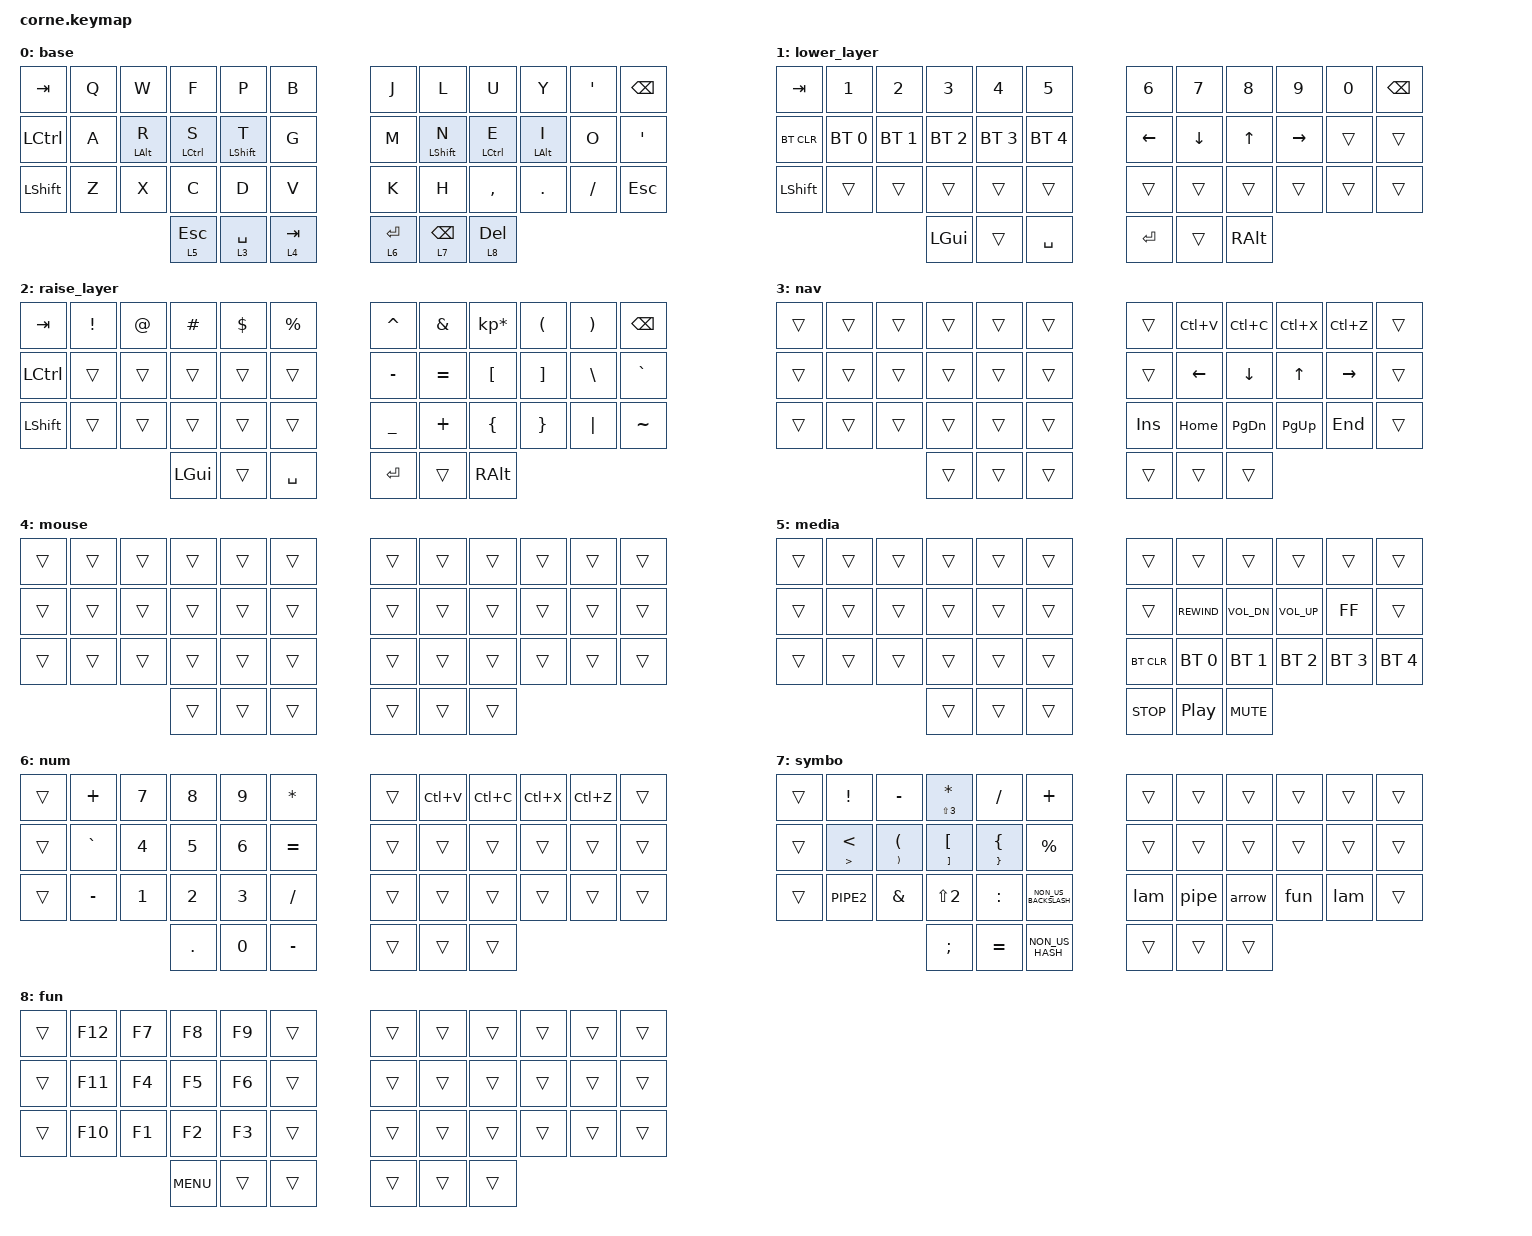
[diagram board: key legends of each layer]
/*
 * Copyright (c) 2020 The ZMK Contributors
 *
 * SPDX-License-Identifier: MIT
 */

#include <behaviors.dtsi>
#include <dt-bindings/zmk/bt.h>
#include <dt-bindings/zmk/keys.h>

/ {
    behaviors {
        hmr: hmr {
            compatible = "zmk,behavior-hold-tap";
            label = "HMR";
            bindings = <&kp>, <&kp>;

            #binding-cells = <2>;
            tapping-term-ms = <200>;
            quick-tap-ms = <175>;
            hold-trigger-key-positions = <0 1 2 3 4 5 12 13 14 15 16 17 24 25 26 27 28 29 36 37 38 39 40 41>;
            hold-trigger-on-release;
            flavor = "balanced";
        };

        hml: hml {
            compatible = "zmk,behavior-hold-tap";
            label = "HML";
            bindings = <&kp>, <&kp>;

            #binding-cells = <2>;
            tapping-term-ms = <200>;
            quick-tap-ms = <175>;
            flavor = "balanced";
            hold-trigger-key-positions = <6 7 8 9 10 11 18 19 20 21 22 23 30 31 32 33 34 35 39 40 41 36 37 38>;
            hold-trigger-on-release;
        };
    };

    macros {
        pipe: new_macro {
            compatible = "zmk,behavior-macro";
            #binding-cells = <0>;
            bindings = <&kp PIPE2 &kp GT>;
            label = "NEW_MACRO";
        };

        arrow: arrow {
            compatible = "zmk,behavior-macro";
            #binding-cells = <0>;
            bindings = <&kp MINUS &kp GT>;
            label = "ARROW";
        };

        fun: fun {
            compatible = "zmk,behavior-macro";
            #binding-cells = <0>;
            bindings = <&kp LPAR &kp F &kp U &kp N &kp SPACE &kp X &kp SPACE &kp MINUS &kp GT &kp SPACE &kp RPAR>;
            label = "FUN";
        };

        lam: lam {
            compatible = "zmk,behavior-macro";
            #binding-cells = <0>;
            bindings = <&none &kp EQUAL &kp GT>;
            label = "LAM";
        };
    };

    keymap {
        compatible = "zmk,keymap";

        base {
            // -----------------------------------------------------------------------------------------
            // |  TAB |  Q  |  W  |  E  |  R  |  T  |   |  Y  |  U   |  I  |  O  |  P  | BKSP |
            // | CTRL |  A  |  S  |  D  |  F  |  G  |   |  H  |  J   |  K  |  L  |  ;  |  '   |
            // | SHFT |  Z  |  X  |  C  |  V  |  B  |   |  N  |  M   |  ,  |  .  |  /  | ESC  |
            //                    | GUI | LWR | SPC |   | ENT | RSE  | ALT |

            bindings = <
&kp TAB    &kp Q  &kp W            &kp F         &kp P              &kp B        &kp J        &kp L              &kp U         &kp Y            &kp SINGLE_QUOTE  &kp BSPC
&kp LCTRL  &kp A  &hml LEFT_ALT R  &hml LCTRL S  &hml LEFT_SHIFT T  &kp G        &kp M        &hmr LEFT_SHIFT N  &hmr LCTRL E  &hmr LEFT_ALT I  &kp O             &kp SQT
&kp LSHFT  &kp Z  &kp X            &kp C         &kp D              &kp V        &kp K        &kp H              &kp COMMA     &kp DOT          &kp FSLH          &kp ESC
                                   &lt 5 ESCAPE  &lt 3 SPACE        &lt 4 TAB    &lt 6 ENTER  &lt 7 BACKSPACE    &lt 8 DELETE
            >;
        };

        lower_layer {
            // -----------------------------------------------------------------------------------------
            // |  TAB |  1  |  2  |  3  |  4  |  5  |   |  6  |  7  |  8  |  9  |  0  | BKSP |
            // | BTCLR| BT1 | BT2 | BT3 | BT4 | BT5 |   | LFT | DWN |  UP | RGT |     |      |
            // | SHFT |     |     |     |     |     |   |     |     |     |     |     |      |
            //                    | GUI |     | SPC |   | ENT |     | ALT |

            bindings = <
&kp TAB     &kp N1        &kp N2        &kp N3        &kp N4        &kp N5          &kp N6    &kp N7    &kp N8    &kp N9     &kp N0  &kp BSPC
&bt BT_CLR  &bt BT_SEL 0  &bt BT_SEL 1  &bt BT_SEL 2  &bt BT_SEL 3  &bt BT_SEL 4    &kp LEFT  &kp DOWN  &kp UP    &kp RIGHT  &trans  &trans
&kp LSHFT   &trans        &trans        &trans        &trans        &trans          &trans    &trans    &trans    &trans     &trans  &trans
                                        &kp LGUI      &trans        &kp SPACE       &kp RET   &trans    &kp RALT
            >;
        };

        raise_layer {
            // -----------------------------------------------------------------------------------------
            // |  TAB |  !  |  @  |  #  |  $  |  %  |   |  ^  |  &  |  *  |  (  |  )  | BKSP |
            // | CTRL |     |     |     |     |     |   |  -  |  =  |  [  |  ]  |  \  |  `   |
            // | SHFT |     |     |     |     |     |   |  _  |  +  |  {  |  }  | "|" |  ~   |
            //                    | GUI |     | SPC |   | ENT |     | ALT |

            bindings = <
&kp TAB    &kp EXCL  &kp AT  &kp HASH  &kp DLLR  &kp PRCNT    &kp CARET  &kp AMPS   &kp KP_MULTIPLY  &kp LPAR  &kp RPAR  &kp BSPC
&kp LCTRL  &trans    &trans  &trans    &trans    &trans       &kp MINUS  &kp EQUAL  &kp LBKT         &kp RBKT  &kp BSLH  &kp GRAVE
&kp LSHFT  &trans    &trans  &trans    &trans    &trans       &kp UNDER  &kp PLUS   &kp LBRC         &kp RBRC  &kp PIPE  &kp TILDE
                             &kp LGUI  &trans    &kp SPACE    &kp RET    &trans     &kp RALT
            >;
        };

        nav {
            bindings = <
&trans  &trans  &trans  &trans  &trans  &trans    &trans   &kp LC(V)  &kp LC(C)      &kp LC(X)     &kp LC(Z)  &trans
&trans  &trans  &trans  &trans  &trans  &trans    &trans   &kp LEFT   &kp DOWN       &kp UP_ARROW  &kp RIGHT  &trans
&trans  &trans  &trans  &trans  &trans  &trans    &kp INS  &kp HOME   &kp PAGE_DOWN  &kp PAGE_UP   &kp END    &trans
                        &trans  &trans  &trans    &trans   &trans     &trans
            >;
        };

        mouse {
            bindings = <
&trans  &trans  &trans  &trans  &trans  &trans    &trans  &trans  &trans  &trans  &trans  &trans
&trans  &trans  &trans  &trans  &trans  &trans    &trans  &trans  &trans  &trans  &trans  &trans
&trans  &trans  &trans  &trans  &trans  &trans    &trans  &trans  &trans  &trans  &trans  &trans
                        &trans  &trans  &trans    &trans  &trans  &trans
            >;
        };

        media {
            bindings = <
&trans  &trans  &trans  &trans  &trans  &trans    &trans      &trans            &trans        &trans        &trans        &trans
&trans  &trans  &trans  &trans  &trans  &trans    &trans      &kp C_REWIND      &kp C_VOL_DN  &kp C_VOL_UP  &kp C_FF      &trans
&trans  &trans  &trans  &trans  &trans  &trans    &bt BT_CLR  &bt BT_SEL 0      &bt BT_SEL 1  &bt BT_SEL 2  &bt BT_SEL 3  &bt BT_SEL 4
                        &trans  &trans  &trans    &kp C_STOP  &kp C_PLAY_PAUSE  &kp K_MUTE
            >;
        };

        num {
            bindings = <
&trans  &kp PLUS   &kp N7        &kp N8        &kp N9        &kp ASTERISK    &trans  &kp LC(V)  &kp LC(C)  &kp LC(X)  &kp LC(Z)  &trans
&trans  &kp GRAVE  &kp NUMBER_4  &kp N5        &kp NUMBER_6  &kp EQUAL       &trans  &trans     &trans     &trans     &trans     &trans
&trans  &kp MINUS  &kp NUMBER_1  &kp NUMBER_2  &kp NUMBER_3  &kp SLASH       &trans  &trans     &trans     &trans     &trans     &trans
                                 &kp PERIOD    &kp NUMBER_0  &kp MINUS       &trans  &trans     &trans
            >;
        };

        symbo {
            bindings = <
&trans  &kp EXCLAMATION             &kp MINUS                               &mt LS(NUMBER_3) ASTERISK       &kp SLASH                   &kp PLUS                &trans  &trans  &trans  &trans  &trans  &trans
&trans  &mt GREATER_THAN LESS_THAN  &mt RIGHT_PARENTHESIS LEFT_PARENTHESIS  &mt RIGHT_BRACKET LEFT_BRACKET  &mt RIGHT_BRACE LEFT_BRACE  &kp PERCENT             &trans  &trans  &trans  &trans  &trans  &trans
&trans  &kp PIPE2                   &kp AMPERSAND                           &kp LS(NUMBER_2)                &kp COLON                   &kp NON_US_BACKSLASH    &lam    &pipe   &arrow  &fun    &lam    &trans
                                                                            &kp SEMICOLON                   &kp EQUAL                   &kp NON_US_HASH         &trans  &trans  &trans
            >;
        };

        fun {
            bindings = <
&trans  &kp F12  &kp F7  &kp F8      &kp F9  &trans    &trans  &trans  &trans  &trans  &trans  &trans
&trans  &kp F11  &kp F4  &kp F5      &kp F6  &trans    &trans  &trans  &trans  &trans  &trans  &trans
&trans  &kp F10  &kp F1  &kp F2      &kp F3  &trans    &trans  &trans  &trans  &trans  &trans  &trans
                         &kp C_MENU  &trans  &trans    &trans  &trans  &trans
            >;
        };
    };
};
